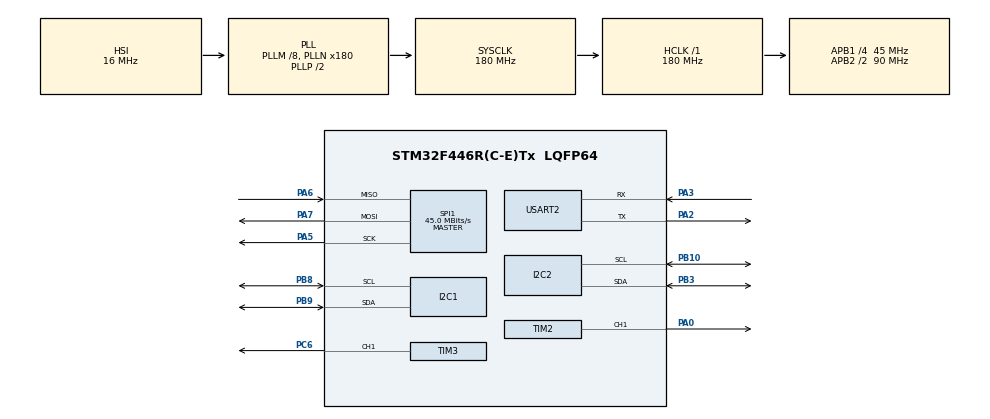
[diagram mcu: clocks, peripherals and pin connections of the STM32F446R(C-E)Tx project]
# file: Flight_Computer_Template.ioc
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Mcu.Family=STM32F4
Mcu.Name=STM32F446R(C-E)Tx
Mcu.Package=LQFP64
NVIC.PriorityGroup=NVIC_PRIORITYGROUP_4
PA0-WKUP.Signal=S_TIM2_CH1_ETR
PA2.Mode=Asynchronous
PA2.Signal=USART2_TX
PA3.Mode=Asynchronous
PA3.Signal=USART2_RX
PA5.Mode=Full_Duplex_Master
PA5.Signal=SPI1_SCK
PA6.Mode=Full_Duplex_Master
PA6.Signal=SPI1_MISO
PA7.Mode=Full_Duplex_Master
PA7.Signal=SPI1_MOSI
PB10.Mode=I2C
PB10.Signal=I2C2_SCL
PB3.Mode=I2C
PB3.Signal=I2C2_SDA
PB8.Mode=I2C
PB8.Signal=I2C1_SCL
PB9.Mode=I2C
PB9.Signal=I2C1_SDA
PC6.Signal=S_TIM3_CH1
ProjectManager.HeapSize=0x200
ProjectManager.StackSize=0x400
ProjectManager.TargetToolchain=STM32CubeIDE
RCC.48MHZClocksFreq_Value=84000000
RCC.AHBFreq_Value=180000000
RCC.APB1CLKDivider=RCC_HCLK_DIV4
RCC.APB1Freq_Value=45000000
RCC.APB1TimFreq_Value=90000000
RCC.APB2CLKDivider=RCC_HCLK_DIV2
RCC.APB2Freq_Value=90000000
RCC.APB2TimFreq_Value=180000000
RCC.CortexFreq_Value=180000000
RCC.FLatency-AdvancedSettings=FLASH_LATENCY_5
RCC.HCLKFreq_Value=180000000
RCC.HSE_VALUE=8000000
RCC.HSI_VALUE=16000000
RCC.PLLM=8
RCC.PLLN=180
RCC.SYSCLKFreq_VALUE=180000000
RCC.SYSCLKSource=RCC_SYSCLKSOURCE_PLLCLK
RCC.USBFreq_Value=180000000
RCC.VCOOutputFreq_Value=360000000
SH.S_TIM2_CH1_ETR.0=TIM2_CH1,PWM Generation1 CH1
SH.S_TIM3_CH1.0=TIM3_CH1,PWM Generation1 CH1
SPI1.CalculateBaudRate=45.0 MBits/s
SPI1.Direction=SPI_DIRECTION_2LINES
SPI1.Mode=SPI_MODE_MASTER
SPI1.VirtualType=VM_MASTER
USART2.VirtualMode=VM_ASYNC
board=NUCLEO-F446RE

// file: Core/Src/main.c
/* USER CODE BEGIN Header */
/**
  ******************************************************************************
  * @file           : main.c
  * @brief          : Main program body
  ******************************************************************************
  * @attention
  *
  * Copyright (c) 2024 STMicroelectronics.
  * All rights reserved.
  *
  * This software is licensed under terms that can be found in the LICENSE file
  * in the root directory of this software component.
  * If no LICENSE file comes with this software, it is provided AS-IS.
  *
  ******************************************************************************
  */
/* USER CODE END Header */
#include "main.h"

/* USER CODE BEGIN Includes */
#include "BNO055_STM32.h"
#include <string.h>
#include <stdio.h>
#include <ms5611.h>
/* USER CODE END Includes */

/* USER CODE BEGIN PTD */
//fsm(final state machine) mantığı bu tarz sistemler için biçilmiş kaftanır. bu yüzden burada durum tanımlamalarını yaptık
typedef enum {
    ON_RAMP,      // rampada
    IN_FLIGHT,     // roket uçuşda, irtifa artarken
    DRAG_PARACHUTE_OPEN,    // apogee tespitinden sonra sürüklenme paraşütünü açmak için
    MAIN_PARACHUTE_OPEN,       // ana paraşütü açmak ve iniş yapmak için
    LANDED    // yere iniş tamamlanınca
} state;
/* USER CODE END PTD */

I2C_HandleTypeDef hi2c1;
I2C_HandleTypeDef hi2c2;

SPI_HandleTypeDef hspi1;

TIM_HandleTypeDef htim2;
TIM_HandleTypeDef htim3;

UART_HandleTypeDef huart2;

/* USER CODE BEGIN PV */
// global değişkenler
float groundAltitude = 0.0f; // en başta ms5611 için rampa basıncını alacağız ki bulunduğumuz yerin deniz seviyesine göre yüksekliğin alırsak fsm istemedeiğimiz modlara geçebilir.
BNO055_Sensors_t bno_data;
state currentState = ON_RAMP; //başta rampadan başlatıyoruz
float currentAltitude = 0.0f; //işlemciyi yormamak adına sonunda f koyduk ki double ile işlem yapmasın, hep float kullanılsın.
float maxAltitude = 0.0f;
float previousAltitude = 0.0f;
uint8_t OffsetDatas[22];

// BNO055den veri çekmek için kullanacağımız yapıyı oluşturuyoruz, sonrasında tek tek x,y ve z eksenlerinden veri çekmek için orientation.x şeklinde structtan veri çekeceğiz
//bno055_vector_t orientation;
// buna gerek kalmadı, yeni kütüphane ile direkt bno_data.Euler.Z diyerek veriyi çekiyoruz
/* USER CODE END PV */

void SystemClock_Config(void);
static void MX_GPIO_Init(void);
static void MX_USART2_UART_Init(void);
static void MX_TIM2_Init(void);
static void MX_TIM3_Init(void);
static void MX_SPI1_Init(void);
static void MX_I2C1_Init(void);
static void MX_I2C2_Init(void);
/* USER CODE BEGIN PFP */
void drag_parachute_open();
void main_parachute_open();
void ucus_algoritmasi();
/* USER CODE END PFP */

/* USER CODE BEGIN 0 */
//paraşütleri açacak komutu göndermek için kullanacağımız fonksiyonlar elimde olmadığı için buralara dummy kullanacağım
void drag_parachute_open() {

}

void main_parachute_open() {

}

//BNO055 konfigurasyonları

void BNO055Sensor_Init(void) {

    BNO055_Init_t BNO055_InitStruct = {0};
    ResetBNO055();
    HAL_Delay(100); // sensörün kendine gelmesi için kısa bir bekleme

    BNO055_InitStruct.ACC_Range = Range_16G;
    BNO055_InitStruct.OP_Modes = NDOF;
    BNO055_InitStruct.Unit_Sel = (UNIT_ORI_ANDROID | UNIT_EUL_DEG | UNIT_ACC_MS2);

    BNO055_Init(BNO055_InitStruct);

    // Rampada beklerken kalibrasyon yapıyoruz
    if(Calibrate_BNO055()) {
        getSensorOffsets(OffsetDatas); // başarılıysa ofsetleri al

    }

    else{
        //printf("kalibrasyon başarısız");
    }
}

//MS5611 konfigurasyonları
void MS5611_Ramp_Init(void) {

    if(ms5611_init() != 0) {
        // printf("hata");
    }

    float summary = 0;
    float temp, press, alt; // 3lü gelen verileri okumak için boş değişkenler

    for(int i = 0; i < 10; i++) {
        // fonksiyon 3 veriyi birden okuyup değişkenlerin içine atıyor
        ms5611_getTemperatureAndPressure(&temp, &press, &alt);
        summary += alt; // biz sadece irtifayı alıp topluyoruz
        HAL_Delay(50);
    }

    groundAltitude = summary / 10.0f; // rampa yüksekliğini belirledik sonrasında gerçek yüksekliği bulmak için kullanacağız
}

void Sensor_Init(void) {
    // MS5611 başlatma (hi2c2 kullanıyor)
    MS5611_Ramp_Init();

    // BNO055 başlatma
    BNO055Sensor_Init();
}

// ana kontrol döngümüz
void ucus_algoritmasi() {

	float temp, press, alt;

	    // ms5611'den irtifa verisi alıyoruz
	    ms5611_getTemperatureAndPressure(&temp, &press, &alt);

	    // rampa referansını çıkararak gerçek yüksekliği buluyoruz
	    currentAltitude = alt - groundAltitude;

    ReadData(&bno_data, SENSOR_EULER); //bno_data.Euler.Z gibi yapıların içini doldurmak için kullandık. SENSOR_EULER parametresi ile spesifik olarak euler açılarını istedik.

    // Final State Machine'miz
    switch(currentState) {

        case ON_RAMP:
            // irtifa kontrolü, 10 m'den yüksekdeysek uçuyoruz demektir.
            if (currentAltitude > 10.0f) {
                currentState = IN_FLIGHT;
            }
            break;

        case IN_FLIGHT:
            if (currentAltitude > maxAltitude) {
                maxAltitude = currentAltitude;
            }

            // EK KONTROL, eğer roketin dikliği (euler açıslarına bakarak karar veriyoruz) 80 dereceden fazla saparsa acil durum kurtarmasını başlatacağız. (z ekseni genelde dikeyi temsil eder bno055 kütüphanelerinde ama sensörün nasıl monte edildiğine bağlı olarak da değişebilir, bu donanımla beraber ayarlanacak bir iştir.)
            if (bno_data.Euler.Z > 80.0 || bno_data.Euler.Z < -80.0) {
                drag_parachute_open();
                currentState = DRAG_PARACHUTE_OPEN;
            }

            // apogee tespiti yaptık; eğer irtifa düşmeye başladıysa apogee'ye ulaşmışım ve hatta düşmeye başlamışım demektir
            if (currentAltitude < (maxAltitude - 2.0f)) {
                drag_parachute_open();
                currentState = DRAG_PARACHUTE_OPEN;
            }
            break;

        case DRAG_PARACHUTE_OPEN:
            // ana paraşüt açılma irtifası (örnekte 500 metre olsun dedim)
            if (currentAltitude < 500.0f) {
                main_parachute_open();
                currentState = MAIN_PARACHUTE_OPEN;
            }
            break;

        case MAIN_PARACHUTE_OPEN:
            // iniş tespiti yaptık; irtifa yere yakınsa LANDED state'ine geçtik.
            if (currentAltitude < 10.0f) {
                currentState = LANDED;
            }
            break;

        case LANDED:
            // telemetri ekranına indi verisi vs gönderilebilir
            break;
    }

    // yükseklik değerini güncelliyoruz
    previousAltitude = currentAltitude;
}

/* USER CODE END 0 */

int main(void)
{

  /* MCU Configuration--------------------------------------------------------*/

  /* Reset of all peripherals, Initializes the Flash interface and the Systick. */
  HAL_Init();

  /* Configure the system clock */
  SystemClock_Config();

  /* Initialize all configured peripherals */
  MX_GPIO_Init();
  MX_USART2_UART_Init();
  MX_TIM2_Init();
  MX_TIM3_Init();
  MX_SPI1_Init();
  MX_I2C1_Init();
  MX_I2C2_Init();

  /* Infinite loop */
  /* USER CODE BEGIN WHILE */
  Sensor_Init();

  while (1)
  {
    ucus_algoritmasi();
    HAL_Delay(20);// i2c hattını kilitlememek için biraz bekleme
    /* USER CODE END WHILE */

  }
}

void SystemClock_Config(void)
{
  RCC_OscInitTypeDef RCC_OscInitStruct = {0};
  RCC_ClkInitTypeDef RCC_ClkInitStruct = {0};

  /** Configure the main internal regulator output voltage
  */
  __HAL_RCC_PWR_CLK_ENABLE();
  __HAL_PWR_VOLTAGESCALING_CONFIG(PWR_REGULATOR_VOLTAGE_SCALE1);

  /** Initializes the RCC Oscillators according to the specified parameters
  * in the RCC_OscInitTypeDef structure.
  */
  RCC_OscInitStruct.OscillatorType = RCC_OSCILLATORTYPE_HSI;
  RCC_OscInitStruct.HSIState = RCC_HSI_ON;
  RCC_OscInitStruct.HSICalibrationValue = RCC_HSICALIBRATION_DEFAULT;
  RCC_OscInitStruct.PLL.PLLState = RCC_PLL_ON;
  RCC_OscInitStruct.PLL.PLLSource = RCC_PLLSOURCE_HSI;
  RCC_OscInitStruct.PLL.PLLM = 8;
  RCC_OscInitStruct.PLL.PLLN = 180;
  RCC_OscInitStruct.PLL.PLLP = RCC_PLLP_DIV2;
  RCC_OscInitStruct.PLL.PLLQ = 2;
  RCC_OscInitStruct.PLL.PLLR = 2;
  if (HAL_RCC_OscConfig(&RCC_OscInitStruct) != HAL_OK)
  {
    Error_Handler();
  }

  /** Activate the Over-Drive mode
  */
  if (HAL_PWREx_EnableOverDrive() != HAL_OK)
  {
    Error_Handler();
  }

  /** Initializes the CPU, AHB and APB buses clocks
  */
  RCC_ClkInitStruct.ClockType = RCC_CLOCKTYPE_HCLK|RCC_CLOCKTYPE_SYSCLK
                              |RCC_CLOCKTYPE_PCLK1|RCC_CLOCKTYPE_PCLK2;
  RCC_ClkInitStruct.SYSCLKSource = RCC_SYSCLKSOURCE_PLLCLK;
  RCC_ClkInitStruct.AHBCLKDivider = RCC_SYSCLK_DIV1;
  RCC_ClkInitStruct.APB1CLKDivider = RCC_HCLK_DIV4;
  RCC_ClkInitStruct.APB2CLKDivider = RCC_HCLK_DIV2;

  if (HAL_RCC_ClockConfig(&RCC_ClkInitStruct, FLASH_LATENCY_5) != HAL_OK)
  {
    Error_Handler();
  }
}

static void MX_I2C1_Init(void)
{

  hi2c1.Instance = I2C1;
  hi2c1.Init.ClockSpeed = 100000;
  hi2c1.Init.DutyCycle = I2C_DUTYCYCLE_2;
  hi2c1.Init.OwnAddress1 = 0;
  hi2c1.Init.AddressingMode = I2C_ADDRESSINGMODE_7BIT;
  hi2c1.Init.DualAddressMode = I2C_DUALADDRESS_DISABLE;
  hi2c1.Init.OwnAddress2 = 0;
  hi2c1.Init.GeneralCallMode = I2C_GENERALCALL_DISABLE;
  hi2c1.Init.NoStretchMode = I2C_NOSTRETCH_DISABLE;
  if (HAL_I2C_Init(&hi2c1) != HAL_OK)
  {
    Error_Handler();
  }

}

static void MX_I2C2_Init(void)
{

  hi2c2.Instance = I2C2;
  hi2c2.Init.ClockSpeed = 100000;
  hi2c2.Init.DutyCycle = I2C_DUTYCYCLE_2;
  hi2c2.Init.OwnAddress1 = 0;
  hi2c2.Init.AddressingMode = I2C_ADDRESSINGMODE_7BIT;
  hi2c2.Init.DualAddressMode = I2C_DUALADDRESS_DISABLE;
  hi2c2.Init.OwnAddress2 = 0;
  hi2c2.Init.GeneralCallMode = I2C_GENERALCALL_DISABLE;
  hi2c2.Init.NoStretchMode = I2C_NOSTRETCH_DISABLE;
  if (HAL_I2C_Init(&hi2c2) != HAL_OK)
  {
    Error_Handler();
  }

}

static void MX_SPI1_Init(void)
{

  /* SPI1 parameter configuration*/
  hspi1.Instance = SPI1;
  hspi1.Init.Mode = SPI_MODE_MASTER;
  hspi1.Init.Direction = SPI_DIRECTION_2LINES;
  hspi1.Init.DataSize = SPI_DATASIZE_8BIT;
  hspi1.Init.CLKPolarity = SPI_POLARITY_LOW;
  hspi1.Init.CLKPhase = SPI_PHASE_1EDGE;
  hspi1.Init.NSS = SPI_NSS_SOFT;
  hspi1.Init.BaudRatePrescaler = SPI_BAUDRATEPRESCALER_2;
  hspi1.Init.FirstBit = SPI_FIRSTBIT_MSB;
  hspi1.Init.TIMode = SPI_TIMODE_DISABLE;
  hspi1.Init.CRCCalculation = SPI_CRCCALCULATION_DISABLE;
  hspi1.Init.CRCPolynomial = 10;
  if (HAL_SPI_Init(&hspi1) != HAL_OK)
  {
    Error_Handler();
  }

}

static void MX_TIM2_Init(void)
{

  TIM_MasterConfigTypeDef sMasterConfig = {0};
  TIM_OC_InitTypeDef sConfigOC = {0};

  htim2.Instance = TIM2;
  htim2.Init.Prescaler = 0;
  htim2.Init.CounterMode = TIM_COUNTERMODE_UP;
  htim2.Init.Period = 4294967295;
  htim2.Init.ClockDivision = TIM_CLOCKDIVISION_DIV1;
  htim2.Init.AutoReloadPreload = TIM_AUTORELOAD_PRELOAD_DISABLE;
  if (HAL_TIM_PWM_Init(&htim2) != HAL_OK)
  {
    Error_Handler();
  }
  sMasterConfig.MasterOutputTrigger = TIM_TRGO_RESET;
  sMasterConfig.MasterSlaveMode = TIM_MASTERSLAVEMODE_DISABLE;
  if (HAL_TIMEx_MasterConfigSynchronization(&htim2, &sMasterConfig) != HAL_OK)
  {
    Error_Handler();
  }
  sConfigOC.OCMode = TIM_OCMODE_PWM1;
  sConfigOC.Pulse = 0;
  sConfigOC.OCPolarity = TIM_OCPOLARITY_HIGH;
  sConfigOC.OCFastMode = TIM_OCFAST_DISABLE;
  if (HAL_TIM_PWM_ConfigChannel(&htim2, &sConfigOC, TIM_CHANNEL_1) != HAL_OK)
  {
    Error_Handler();
  }
  HAL_TIM_MspPostInit(&htim2);

}

static void MX_TIM3_Init(void)
{

  TIM_MasterConfigTypeDef sMasterConfig = {0};
  TIM_OC_InitTypeDef sConfigOC = {0};

  htim3.Instance = TIM3;
  htim3.Init.Prescaler = 0;
  htim3.Init.CounterMode = TIM_COUNTERMODE_UP;
  htim3.Init.Period = 65535;
  htim3.Init.ClockDivision = TIM_CLOCKDIVISION_DIV1;
  htim3.Init.AutoReloadPreload = TIM_AUTORELOAD_PRELOAD_DISABLE;
  if (HAL_TIM_PWM_Init(&htim3) != HAL_OK)
  {
    Error_Handler();
  }
  sMasterConfig.MasterOutputTrigger = TIM_TRGO_RESET;
  sMasterConfig.MasterSlaveMode = TIM_MASTERSLAVEMODE_DISABLE;
  if (HAL_TIMEx_MasterConfigSynchronization(&htim3, &sMasterConfig) != HAL_OK)
  {
    Error_Handler();
  }
  sConfigOC.OCMode = TIM_OCMODE_PWM1;
  sConfigOC.Pulse = 0;
  sConfigOC.OCPolarity = TIM_OCPOLARITY_HIGH;
  sConfigOC.OCFastMode = TIM_OCFAST_DISABLE;
  if (HAL_TIM_PWM_ConfigChannel(&htim3, &sConfigOC, TIM_CHANNEL_1) != HAL_OK)
  {
    Error_Handler();
  }
  HAL_TIM_MspPostInit(&htim3);

}

static void MX_USART2_UART_Init(void)
{

  huart2.Instance = USART2;
  huart2.Init.BaudRate = 115200;
  huart2.Init.WordLength = UART_WORDLENGTH_8B;
  huart2.Init.StopBits = UART_STOPBITS_1;
  huart2.Init.Parity = UART_PARITY_NONE;
  huart2.Init.Mode = UART_MODE_TX_RX;
  huart2.Init.HwFlowCtl = UART_HWCONTROL_NONE;
  huart2.Init.OverSampling = UART_OVERSAMPLING_16;
  if (HAL_UART_Init(&huart2) != HAL_OK)
  {
    Error_Handler();
  }

}

static void MX_GPIO_Init(void)
{

  /* GPIO Ports Clock Enable */
  __HAL_RCC_GPIOA_CLK_ENABLE();
  __HAL_RCC_GPIOB_CLK_ENABLE();
  __HAL_RCC_GPIOC_CLK_ENABLE();

}

void Error_Handler(void)
{
  __disable_irq();
  while (1)
  {
  }
}
